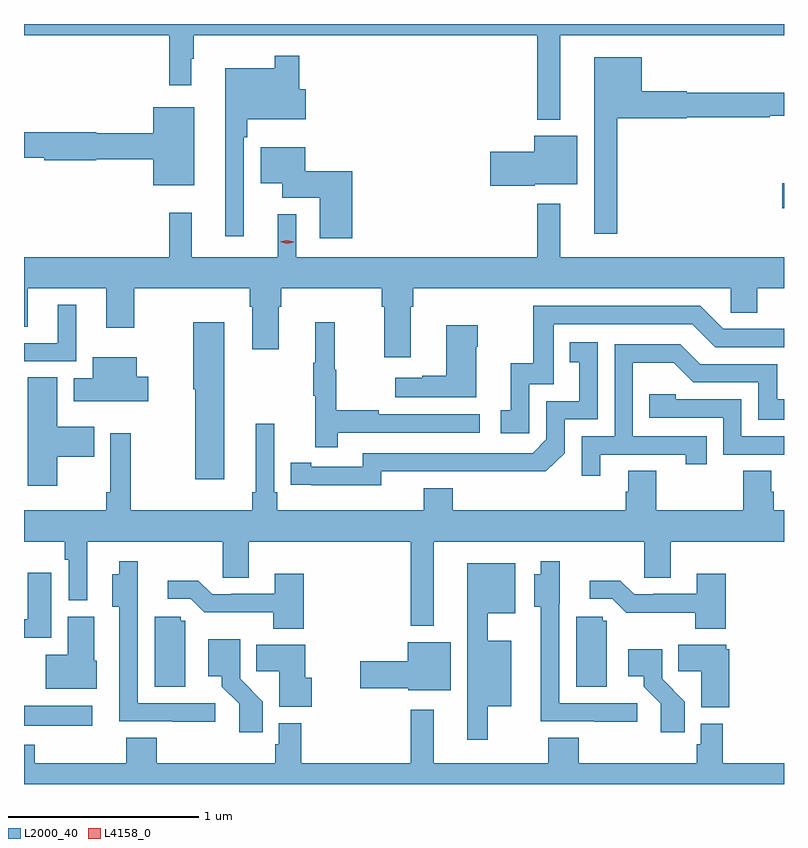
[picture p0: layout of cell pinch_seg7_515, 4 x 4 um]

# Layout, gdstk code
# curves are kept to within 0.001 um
import gdstk
lib = gdstk.Library(unit=1e-6, precision=1e-09)
def R(c, l, rs):  # rectangles x0, y0, x1, y1
    for r in rs: c.add(gdstk.rectangle(r[:2], r[2:], *l))
def P(c, l, *ps):  # polygons
    for p in ps: c.add(gdstk.Polygon(p, *l))
L2000_40 = (2000, 40)
L4158_0 = (4158, 0)

pinch_seg7_515 = lib.new_cell('pinch_seg7_515')
R(pinch_seg7_515, L2000_40, [(121.607,1059.587,121.966,1059.691), (125.598,1062.311,125.607,1062.441)])
P(pinch_seg7_515, L2000_40, [(124.429,1063.22),(125.607,1063.22),(125.607,1063.28),(121.607,1063.28),(121.607,1063.22),(122.371,1063.22),(122.371,1062.957),(122.488,1062.957),(122.488,1063.097),(122.5,1063.097),(122.5,1063.22),(124.308,1063.22),(124.308,1062.776),(124.429,1062.776)],
  [(122.763,1062.683),(122.783,1062.683),(122.783,1062.779),(123.091,1062.779),(123.091,1062.937),(123.056,1062.937),(123.056,1063.114),(122.928,1063.114),(122.928,1063.048),(122.666,1063.048),(122.666,1062.162),(122.763,1062.162)],
  [(124.729,1062.785),(125.094,1062.785),(125.094,1062.79),(125.532,1062.79),(125.532,1062.798),(125.607,1062.798),(125.607,1062.919),(125.094,1062.919),(125.094,1062.927),(124.858,1062.927),(124.858,1063.105),(124.607,1063.105),(124.607,1062.177),(124.729,1062.177)],
  [(122.503,1062.841),(122.288,1062.841),(122.288,1062.704),(121.986,1062.704),(121.986,1062.71),(121.607,1062.71),(121.607,1062.575),(121.714,1062.575),(121.714,1062.563),(121.986,1062.563),(121.986,1062.568),(122.288,1062.568),(122.288,1062.431),(122.503,1062.431)],
  [(124.296,1062.437),(124.519,1062.437),(124.519,1062.691),(124.292,1062.691),(124.292,1062.608),(124.062,1062.608),(124.062,1062.43),(124.296,1062.43)],
  [(123.335,1062.505),(123.088,1062.505),(123.088,1062.631),(122.852,1062.631),(122.852,1062.443),(122.966,1062.443),(122.966,1062.365),(123.164,1062.365),(123.164,1062.153),(123.335,1062.153)],
  [(123.643,1061.792),(123.656,1061.792),(123.656,1061.888),(125.328,1061.888),(125.328,1061.761),(125.467,1061.761),(125.467,1061.888),(125.607,1061.888),(125.607,1062.052),(124.429,1062.052),(124.429,1062.334),(124.308,1062.334),(124.308,1062.052),(123.039,1062.052),(123.039,1062.28),(122.942,1062.28),(122.942,1062.052),(122.489,1062.052),(122.489,1062.286),(122.371,1062.286),(122.371,1062.052),(121.607,1062.052),(121.607,1061.686),(121.627,1061.686),(121.627,1061.888),(122.039,1061.888),(122.039,1061.682),(122.187,1061.682),(122.187,1061.888),(122.795,1061.888),(122.795,1061.792),(122.807,1061.792),(122.807,1061.568),(122.947,1061.568),(122.947,1061.792),(122.96,1061.792),(122.96,1061.888),(123.491,1061.888),(123.491,1061.792),(123.503,1061.792),(123.503,1061.526),(123.643,1061.526)],
  [(121.882,1061.803),(121.784,1061.803),(121.784,1061.601),(121.607,1061.601),(121.607,1061.505),(121.882,1061.505)],
  [(124.266,1061.385),(124.395,1061.385),(124.395,1061.7),(125.124,1061.7),(125.244,1061.58),(125.607,1061.58),(125.607,1061.676),(125.286,1061.676),(125.166,1061.796),(124.287,1061.796),(124.287,1061.494),(124.169,1061.494),(124.169,1061.247),(124.116,1061.247),(124.116,1061.127),(124.266,1061.127)],
  [(123.257,1061.13),(124.006,1061.13),(124.006,1061.226),(123.473,1061.226),(123.473,1061.246),(123.25,1061.246),(123.25,1061.46),(123.242,1061.46),(123.242,1061.71),(123.14,1061.71),(123.14,1061.497),(123.129,1061.497),(123.129,1061.323),(123.14,1061.323),(123.14,1061.052),(123.257,1061.052)],
  [(122.662,1061.71),(122.498,1061.71),(122.498,1061.358),(122.509,1061.358),(122.509,1060.884),(122.662,1060.884)],
  [(123.988,1061.582),(123.996,1061.582),(123.996,1061.695),(123.83,1061.695),(123.83,1061.429),(123.704,1061.429),(123.704,1061.419),(123.561,1061.419),(123.561,1061.315),(123.988,1061.315)],
  [(123.486,1060.926),(124.354,1060.925),(124.452,1061.022),(124.452,1061.199),(124.626,1061.199),(124.626,1061.605),(124.48,1061.605),(124.48,1061.499),(124.529,1061.499),(124.529,1061.295),(124.356,1061.295),(124.356,1061.094),(124.284,1061.022),(123.39,1061.022),(123.39,1060.95),(123.118,1060.95),(123.118,1060.97),(123.01,1060.97),(123.01,1060.854),(123.486,1060.853)],
  [(124.639,1061.013),(125.09,1061.013),(125.09,1060.962),(125.201,1060.962),(125.201,1061.109),(124.812,1061.109),(124.812,1061.498),(125.026,1061.498),(125.13,1061.394),(125.472,1061.394),(125.472,1061.196),(125.607,1061.196),(125.607,1061.305),(125.571,1061.305),(125.571,1061.49),(125.167,1061.49),(125.062,1061.595),(124.716,1061.595),(124.716,1061.109),(124.542,1061.109),(124.542,1060.902),(124.639,1060.902)],
  [(122.26,1061.424),(122.2,1061.424),(122.2,1061.527),(121.97,1061.527),(121.97,1061.416),(121.868,1061.416),(121.868,1061.294),(122.26,1061.294)],
  [(121.783,1061.003),(121.976,1061.003),(121.976,1061.161),(121.783,1061.161),(121.783,1061.42),(121.628,1061.42),(121.628,1060.851),(121.783,1060.851)],
  [(125.607,1061.109),(125.382,1061.109),(125.382,1061.304),(125.037,1061.304),(125.037,1061.331),(124.897,1061.331),(124.897,1061.208),(125.286,1061.208),(125.286,1061.013),(125.607,1061.013)],
  [(123.763,1060.556),(124.872,1060.556),(124.872,1060.366),(125.011,1060.366),(125.011,1060.556),(125.607,1060.556),(125.607,1060.72),(125.552,1060.72),(125.552,1060.818),(125.539,1060.818),(125.539,1060.928),(125.392,1060.928),(125.392,1060.72),(124.935,1060.72),(124.935,1060.928),(124.787,1060.928),(124.787,1060.818),(124.775,1060.818),(124.775,1060.72),(123.863,1060.72),(123.863,1060.837),(123.71,1060.837),(123.71,1060.72),(122.939,1060.72),(122.939,1060.816),(122.925,1060.816),(122.925,1061.176),(122.828,1061.176),(122.828,1060.816),(122.809,1060.816),(122.809,1060.72),(122.17,1060.72),(122.17,1061.125),(122.061,1061.125),(122.061,1060.816),(122.041,1060.816),(122.041,1060.72),(121.607,1060.72),(121.607,1060.556),(121.822,1060.556),(121.822,1060.46),(121.842,1060.46),(121.842,1060.248),(121.939,1060.248),(121.939,1060.556),(122.652,1060.556),(122.652,1060.366),(122.791,1060.366),(122.791,1060.556),(123.642,1060.556),(123.642,1060.112),(123.763,1060.112)],
  [(122.614,1059.705),(122.205,1059.705),(122.205,1060.23),(122.206,1060.23),(122.206,1060.453),(122.108,1060.453),(122.108,1060.384),(122.072,1060.384),(122.072,1060.214),(122.109,1060.214),(122.109,1059.609),(122.389,1059.609),(122.389,1059.607),(122.614,1059.607)],
  [(124.834,1059.705),(124.425,1059.705),(124.425,1060.23),(124.426,1060.23),(124.426,1060.453),(124.328,1060.453),(124.328,1060.384),(124.292,1060.384),(124.292,1060.214),(124.328,1060.214),(124.328,1059.609),(124.609,1059.609),(124.609,1059.607),(124.834,1059.607)],
  [(124.048,1059.689),(124.171,1059.689),(124.171,1060.033),(124.048,1060.033),(124.048,1060.178),(124.192,1060.178),(124.192,1060.441),(123.941,1060.441),(123.941,1059.513),(124.048,1059.513)],
  [(121.75,1060.393),(121.628,1060.393),(121.628,1060.146),(121.607,1060.146),(121.607,1060.05),(121.75,1060.05)],
  [(123.08,1060.387),(122.927,1060.387),(122.927,1060.281),(122.698,1060.281),(122.698,1060.278),(122.598,1060.278),(122.525,1060.351),(122.364,1060.351),(122.364,1060.254),(122.484,1060.254),(122.555,1060.184),(122.92,1060.184),(122.92,1060.097),(123.08,1060.097)],
  [(125.3,1060.387),(125.147,1060.387),(125.147,1060.281),(124.918,1060.281),(124.918,1060.278),(124.818,1060.278),(124.745,1060.351),(124.584,1060.351),(124.584,1060.254),(124.704,1060.254),(124.777,1060.181),(125.14,1060.182),(125.14,1060.097),(125.3,1060.097)],
  [(124.675,1060.14),(124.653,1060.14),(124.653,1060.161),(124.514,1060.161),(124.514,1059.792),(124.675,1059.792)],
  [(122.455,1060.14),(122.433,1060.14),(122.433,1060.161),(122.294,1060.161),(122.294,1059.792),(122.455,1059.792)],
  [(121.99,1059.93),(121.978,1059.93),(121.978,1060.159),(121.838,1060.159),(121.838,1059.961),(121.721,1059.961),(121.721,1059.782),(121.99,1059.782)],
  [(122.864,1059.714),(122.745,1059.833),(122.745,1060.042),(122.576,1060.042),(122.576,1059.848),(122.648,1059.848),(122.648,1059.793),(122.739,1059.703),(122.739,1059.552),(122.864,1059.552)],
  [(123.853,1060.027),(123.626,1060.027),(123.626,1059.926),(123.378,1059.926),(123.378,1059.784),(123.63,1059.784),(123.63,1059.773),(123.853,1059.773)],
  [(123.121,1059.839),(123.088,1059.839),(123.088,1060.012),(122.83,1060.012),(122.83,1059.874),(122.951,1059.874),(122.951,1059.686),(123.121,1059.686)],
  [(125.32,1059.99),(125.304,1059.99),(125.304,1060.012),(125.05,1060.012),(125.05,1059.874),(125.171,1059.874),(125.171,1059.683),(125.32,1059.683)],
  [(125.084,1059.714),(124.965,1059.833),(124.965,1059.988),(124.788,1059.988),(124.788,1059.848),(124.868,1059.848),(124.868,1059.793),(124.959,1059.703),(124.959,1059.552),(125.084,1059.552)],
  [(125.607,1059.388),(125.285,1059.388),(125.285,1059.598),(125.169,1059.598),(125.169,1059.489),(125.149,1059.489),(125.149,1059.388),(124.526,1059.388),(124.526,1059.524),(124.366,1059.524),(124.366,1059.388),(123.763,1059.388),(123.763,1059.67),(123.642,1059.67),(123.642,1059.388),(123.065,1059.388),(123.065,1059.601),(122.949,1059.601),(122.949,1059.489),(122.929,1059.489),(122.929,1059.388),(122.306,1059.388),(122.306,1059.524),(122.146,1059.524),(122.146,1059.388),(121.663,1059.388),(121.663,1059.487),(121.607,1059.487),(121.607,1059.28),(125.607,1059.28)])
P(pinch_seg7_515, L4158_0, [(122.991,1062.123),(122.955,1062.133),(122.955,1062.133),(122.955,1062.133),(122.991,1062.143),(123.027,1062.133),(123.027,1062.132),(123.027,1062.132)])

lib.write_gds('pinch_seg7_515.gds')
